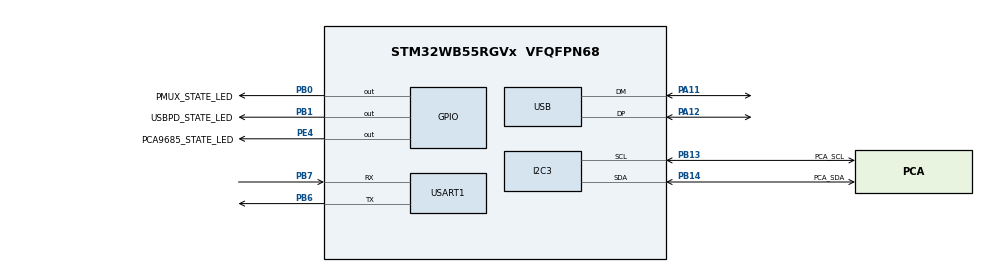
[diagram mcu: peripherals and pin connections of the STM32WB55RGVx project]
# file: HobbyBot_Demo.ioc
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I2C3.Timing=0x10B17DB5
Mcu.Family=STM32WB
Mcu.Name=STM32WB55RGVx
Mcu.Package=VFQFPN68
NVIC.PriorityGroup=NVIC_PRIORITYGROUP_4
NVIC.USB_LP_IRQn=true\:0\:0\:false\:false\:true\:false\:true\:true
OSC_IN.Mode=HSE-External-Oscillator
OSC_IN.Signal=RCC_OSC_IN
OSC_OUT.Mode=HSE-External-Oscillator
OSC_OUT.Signal=RCC_OSC_OUT
PA11.Mode=Device
PA11.Signal=USB_DM
PA12.Mode=Device
PA12.Signal=USB_DP
PA13.Mode=Trace_Asynchronous_SW
PA13.Signal=SYS_JTMS-SWDIO
PA14.Mode=Trace_Asynchronous_SW
PA14.Signal=SYS_JTCK-SWCLK
PB0.GPIO_Label=PMUX_STATE_LED
PB0.Signal=GPIO_Output
PB1.GPIO_Label=USBPD_STATE_LED
PB1.Signal=GPIO_Output
PB13.GPIO_Label=PCA_SCL
PB13.Mode=I2C
PB13.Signal=I2C3_SCL
PB14.GPIO_Label=PCA_SDA
PB14.Mode=I2C
PB14.Signal=I2C3_SDA
PB3.Mode=Trace_Asynchronous_SW
PB3.Signal=SYS_JTDO-SWO
PB6.Mode=Asynchronous
PB6.Signal=USART1_TX
PB7.Mode=Asynchronous
PB7.Signal=USART1_RX
PC14-OSC32_IN.Mode=LSE-External-Oscillator
PC14-OSC32_IN.Signal=RCC_OSC32_IN
PC15-OSC32_OUT.Mode=LSE-External-Oscillator
PC15-OSC32_OUT.Signal=RCC_OSC32_OUT
PE4.GPIO_Label=PCA9685_STATE_LED
PE4.Signal=GPIO_Output
ProjectManager.HeapSize=0x200
ProjectManager.StackSize=0x400
ProjectManager.TargetToolchain=STM32CubeIDE
RCC.ADCFreq_Value=48000000
RCC.AHB2CLKDivider=RCC_SYSCLK_DIV2
RCC.AHBFreq_Value=64000000
RCC.APB1Freq_Value=64000000
RCC.APB1TimFreq_Value=64000000
RCC.APB2Freq_Value=64000000
RCC.APB2TimFreq_Value=64000000
RCC.APB3Freq_Value=12000000
RCC.Cortex2_Div=SYSTICK_CLKSOURCE_HCLK_DIV8
RCC.CortexFreq_Value=64000000
RCC.HCLKFreq_Value=64000000
RCC.HSE_VALUE=24000000
RCC.HSI48_VALUE=48000000
RCC.HSI_VALUE=16000000
RCC.PLLN=32
RCC.PLLSAI1N=24
RCC.SYSCLKFreq_VALUE=64000000
RCC.SYSCLKSource=RCC_SYSCLKSOURCE_PLLCLK
RCC.USBFreq_Value=48000000
RCC.VCOOutputFreq_Value=128000000
USART1.VirtualMode-Asynchronous=VM_ASYNC
USB_DEVICE.CLASS_NAME_FS=CDC
USB_DEVICE.VirtualMode=Cdc
USB_DEVICE.VirtualModeFS=Cdc_FS
VP_MEMORYMAP_VS_MEMORYMAP.Mode=CurAppReg
VP_USB_DEVICE_VS_USB_DEVICE_CDC_FS.Mode=CDC_FS
board=custom

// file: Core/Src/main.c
/* USER CODE BEGIN Header */
/**
  ******************************************************************************
  * @file           : main.c
  * @brief          : Main program body
  ******************************************************************************
  * @attention
  *
  * Copyright (c) 2025 STMicroelectronics.
  * All rights reserved.
  *
  * This software is licensed under terms that can be found in the LICENSE file
  * in the root directory of this software component.
  * If no LICENSE file comes with this software, it is provided AS-IS.
  *
  ******************************************************************************
  */
/* USER CODE END Header */
#include "main.h"
#include "usb_device.h"

/* USER CODE BEGIN Includes */
#include <string.h>
#include <stdlib.h>
#include <stdbool.h>
#include "PCA9685.h"
/* USER CODE END Includes */

/* USER CODE BEGIN PD */
#define ServoAngleUpdateTime 20
/* USER CODE END PD */

I2C_HandleTypeDef hi2c3;

UART_HandleTypeDef huart1;

/* USER CODE BEGIN PV */
// Servo
PCA9685_HandleTypeDef servoController;
uint16_t currentAngle[6] = {135, 135, 135, 135, 135, 135};
uint16_t angle[6] = {135, 135, 135, 135, 135, 135};

// Serial COM
uint32_t message_lenght = 0;
uint8_t message_buffer[100];
bool datareceived_flag = false;
/* USER CODE END PV */

void SystemClock_Config(void);
void PeriphCommonClock_Config(void);
static void MX_GPIO_Init(void);
static void MX_USART1_UART_Init(void);
static void MX_I2C3_Init(void);
/* USER CODE BEGIN PFP */
static void USR_PCA9685_INIT(I2C_HandleTypeDef *PCA9685_I2C_handle);
/* USER CODE END PFP */

int main(void)
{

  /* USER CODE BEGIN 1 */
  uint32_t lastUpdate = HAL_GetTick();
  /* USER CODE END 1 */

  /* MCU Configuration--------------------------------------------------------*/

  /* Reset of all peripherals, Initializes the Flash interface and the Systick. */
  HAL_Init();

  /* Configure the system clock */
  SystemClock_Config();

  /* Configure the peripherals common clocks */
  PeriphCommonClock_Config();

  /* Initialize all configured peripherals */
  MX_GPIO_Init();
  MX_USART1_UART_Init();
  MX_I2C3_Init();
  MX_USB_Device_Init();
  /* USER CODE BEGIN 2 */
  USR_PCA9685_INIT(&hi2c3);
  /* USER CODE END 2 */

  /* Infinite loop */
  /* USER CODE BEGIN WHILE */
  // start the servo controller
  PCA9685_WakeUp(&servoController);
  // set starting positions
  for(int i = 0; i < 6; ++i){
   PCA9685_SetAngle(&servoController, i, angle[i]);
  }

  while (1)
  {
	  //process new USB_Input
	  if(datareceived_flag == true){
		 datareceived_flag = false; // reset flag
		 Process_User_Input();
	  }

	  // smooth servo move
	  if((HAL_GetTick() - lastUpdate) > ServoAngleUpdateTime)
	  {
		  lastUpdate = HAL_GetTick();

		  // Update Servos
		  for(int i = 0; i < 6; ++i){
		     // check if current angle matches target angle
			 if(angle[i] != currentAngle[i])
			 {
				 if(angle[i] < currentAngle[i]){
					 // move negative to target angle
					 currentAngle[i]--;
				 }else if(angle[i] > currentAngle[i])
				 {
					 // move positive to target value
					 currentAngle[i]++;

				 }

				 //Update Position
				 PCA9685_SetAngle(&servoController, i, currentAngle[i]);
			 }
		  }
	  }
    /* USER CODE END WHILE */

  }
}

void SystemClock_Config(void)
{
  RCC_OscInitTypeDef RCC_OscInitStruct = {0};
  RCC_ClkInitTypeDef RCC_ClkInitStruct = {0};

  /** Configure LSE Drive Capability
  */
  HAL_PWR_EnableBkUpAccess();
  __HAL_RCC_LSEDRIVE_CONFIG(RCC_LSEDRIVE_MEDIUMHIGH);

  /** Configure the main internal regulator output voltage
  */
  __HAL_PWR_VOLTAGESCALING_CONFIG(PWR_REGULATOR_VOLTAGE_SCALE1);

  /** Initializes the RCC Oscillators according to the specified parameters
  * in the RCC_OscInitTypeDef structure.
  */
  RCC_OscInitStruct.OscillatorType = RCC_OSCILLATORTYPE_HSI|RCC_OSCILLATORTYPE_HSE
                              |RCC_OSCILLATORTYPE_LSE|RCC_OSCILLATORTYPE_MSI;
  RCC_OscInitStruct.HSEState = RCC_HSE_ON;
  RCC_OscInitStruct.LSEState = RCC_LSE_ON;
  RCC_OscInitStruct.HSIState = RCC_HSI_ON;
  RCC_OscInitStruct.MSIState = RCC_MSI_ON;
  RCC_OscInitStruct.HSICalibrationValue = RCC_HSICALIBRATION_DEFAULT;
  RCC_OscInitStruct.MSICalibrationValue = RCC_MSICALIBRATION_DEFAULT;
  RCC_OscInitStruct.MSIClockRange = RCC_MSIRANGE_6;
  RCC_OscInitStruct.PLL.PLLState = RCC_PLL_ON;
  RCC_OscInitStruct.PLL.PLLSource = RCC_PLLSOURCE_MSI;
  RCC_OscInitStruct.PLL.PLLM = RCC_PLLM_DIV1;
  RCC_OscInitStruct.PLL.PLLN = 32;
  RCC_OscInitStruct.PLL.PLLP = RCC_PLLP_DIV2;
  RCC_OscInitStruct.PLL.PLLR = RCC_PLLR_DIV2;
  RCC_OscInitStruct.PLL.PLLQ = RCC_PLLQ_DIV2;
  if (HAL_RCC_OscConfig(&RCC_OscInitStruct) != HAL_OK)
  {
    Error_Handler();
  }

  /** Configure the SYSCLKSource, HCLK, PCLK1 and PCLK2 clocks dividers
  */
  RCC_ClkInitStruct.ClockType = RCC_CLOCKTYPE_HCLK4|RCC_CLOCKTYPE_HCLK2
                              |RCC_CLOCKTYPE_HCLK|RCC_CLOCKTYPE_SYSCLK
                              |RCC_CLOCKTYPE_PCLK1|RCC_CLOCKTYPE_PCLK2;
  RCC_ClkInitStruct.SYSCLKSource = RCC_SYSCLKSOURCE_PLLCLK;
  RCC_ClkInitStruct.AHBCLKDivider = RCC_SYSCLK_DIV1;
  RCC_ClkInitStruct.APB1CLKDivider = RCC_HCLK_DIV1;
  RCC_ClkInitStruct.APB2CLKDivider = RCC_HCLK_DIV1;
  RCC_ClkInitStruct.AHBCLK2Divider = RCC_SYSCLK_DIV2;
  RCC_ClkInitStruct.AHBCLK4Divider = RCC_SYSCLK_DIV1;

  if (HAL_RCC_ClockConfig(&RCC_ClkInitStruct, FLASH_LATENCY_3) != HAL_OK)
  {
    Error_Handler();
  }

  /** Enable MSI Auto calibration
  */
  HAL_RCCEx_EnableMSIPLLMode();
}

void PeriphCommonClock_Config(void)
{
  RCC_PeriphCLKInitTypeDef PeriphClkInitStruct = {0};

  /** Initializes the peripherals clock
  */
  PeriphClkInitStruct.PeriphClockSelection = RCC_PERIPHCLK_SMPS;
  PeriphClkInitStruct.SmpsClockSelection = RCC_SMPSCLKSOURCE_HSI;
  PeriphClkInitStruct.SmpsDivSelection = RCC_SMPSCLKDIV_RANGE1;

  if (HAL_RCCEx_PeriphCLKConfig(&PeriphClkInitStruct) != HAL_OK)
  {
    Error_Handler();
  }
}

static void MX_I2C3_Init(void)
{

  hi2c3.Instance = I2C3;
  hi2c3.Init.Timing = 0x10B17DB5;
  hi2c3.Init.OwnAddress1 = 0;
  hi2c3.Init.AddressingMode = I2C_ADDRESSINGMODE_7BIT;
  hi2c3.Init.DualAddressMode = I2C_DUALADDRESS_DISABLE;
  hi2c3.Init.OwnAddress2 = 0;
  hi2c3.Init.OwnAddress2Masks = I2C_OA2_NOMASK;
  hi2c3.Init.GeneralCallMode = I2C_GENERALCALL_DISABLE;
  hi2c3.Init.NoStretchMode = I2C_NOSTRETCH_DISABLE;
  if (HAL_I2C_Init(&hi2c3) != HAL_OK)
  {
    Error_Handler();
  }

  /** Configure Analogue filter
  */
  if (HAL_I2CEx_ConfigAnalogFilter(&hi2c3, I2C_ANALOGFILTER_ENABLE) != HAL_OK)
  {
    Error_Handler();
  }

  /** Configure Digital filter
  */
  if (HAL_I2CEx_ConfigDigitalFilter(&hi2c3, 0) != HAL_OK)
  {
    Error_Handler();
  }

}

static void MX_USART1_UART_Init(void)
{

  huart1.Instance = USART1;
  huart1.Init.BaudRate = 115200;
  huart1.Init.WordLength = UART_WORDLENGTH_8B;
  huart1.Init.StopBits = UART_STOPBITS_1;
  huart1.Init.Parity = UART_PARITY_NONE;
  huart1.Init.Mode = UART_MODE_TX_RX;
  huart1.Init.HwFlowCtl = UART_HWCONTROL_NONE;
  huart1.Init.OverSampling = UART_OVERSAMPLING_16;
  huart1.Init.OneBitSampling = UART_ONE_BIT_SAMPLE_DISABLE;
  huart1.Init.ClockPrescaler = UART_PRESCALER_DIV1;
  huart1.AdvancedInit.AdvFeatureInit = UART_ADVFEATURE_NO_INIT;
  if (HAL_UART_Init(&huart1) != HAL_OK)
  {
    Error_Handler();
  }
  if (HAL_UARTEx_SetTxFifoThreshold(&huart1, UART_TXFIFO_THRESHOLD_1_8) != HAL_OK)
  {
    Error_Handler();
  }
  if (HAL_UARTEx_SetRxFifoThreshold(&huart1, UART_RXFIFO_THRESHOLD_1_8) != HAL_OK)
  {
    Error_Handler();
  }
  if (HAL_UARTEx_DisableFifoMode(&huart1) != HAL_OK)
  {
    Error_Handler();
  }

}

static void MX_GPIO_Init(void)
{
  GPIO_InitTypeDef GPIO_InitStruct = {0};

  /* GPIO Ports Clock Enable */
  __HAL_RCC_GPIOC_CLK_ENABLE();
  __HAL_RCC_GPIOB_CLK_ENABLE();
  __HAL_RCC_GPIOE_CLK_ENABLE();
  __HAL_RCC_GPIOA_CLK_ENABLE();

  /*Configure GPIO pin Output Level */
  HAL_GPIO_WritePin(GPIOB, PMUX_STATE_LED_Pin|USBPD_STATE_LED_Pin, GPIO_PIN_RESET);

  /*Configure GPIO pin Output Level */
  HAL_GPIO_WritePin(PCA9685_STATE_LED_GPIO_Port, PCA9685_STATE_LED_Pin, GPIO_PIN_RESET);

  /*Configure GPIO pins : PMUX_STATE_LED_Pin USBPD_STATE_LED_Pin */
  GPIO_InitStruct.Pin = PMUX_STATE_LED_Pin|USBPD_STATE_LED_Pin;
  GPIO_InitStruct.Mode = GPIO_MODE_OUTPUT_PP;
  GPIO_InitStruct.Pull = GPIO_NOPULL;
  GPIO_InitStruct.Speed = GPIO_SPEED_FREQ_LOW;
  HAL_GPIO_Init(GPIOB, &GPIO_InitStruct);

  /*Configure GPIO pin : PCA9685_STATE_LED_Pin */
  GPIO_InitStruct.Pin = PCA9685_STATE_LED_Pin;
  GPIO_InitStruct.Mode = GPIO_MODE_OUTPUT_PP;
  GPIO_InitStruct.Pull = GPIO_NOPULL;
  GPIO_InitStruct.Speed = GPIO_SPEED_FREQ_LOW;
  HAL_GPIO_Init(PCA9685_STATE_LED_GPIO_Port, &GPIO_InitStruct);

}

/* USER CODE BEGIN 4 */
static void USR_PCA9685_INIT(I2C_HandleTypeDef *PCA9685_I2C_handle)
{
	servoController.i2c_handle = PCA9685_I2C_handle;
	servoController.device_address = PCA9685_DEFAULT_ADDRESS;
	servoController.oscillator_frequency = PCA9685_OSC_FREQ;
	PCA9685_Init(&servoController);
	// Add error Handling
}

void USB_CDC_RxHandler(uint8_t* Buf, uint32_t Len)
{
	memcpy(&message_buffer[0], Buf, Len);
	message_lenght = Len;
	datareceived_flag = true;
}

void Process_User_Input(){
	uint8_t servoNum_buf = 0;
	uint8_t index = 3;
	uint16_t num = 0;
	// check for valid command
	if(message_buffer[0] == 'S' && message_buffer[2] == 'P'){
		servoNum_buf = (uint8_t) message_buffer[1] - '1'; // char to int
		//read in angle of variable length
		while (1)
		{
			if (message_buffer[index++] == '\r')
			{
				break; // stop on termination character
			}
		}
		index--; // one step back

		message_buffer[index] = '\0';

		num = atoi(message_buffer + 3); // skip first 3

		angle[servoNum_buf] = num;
	}
}
/* USER CODE END 4 */

void Error_Handler(void)
{
  __disable_irq();
  while (1)
  {
  }
}
